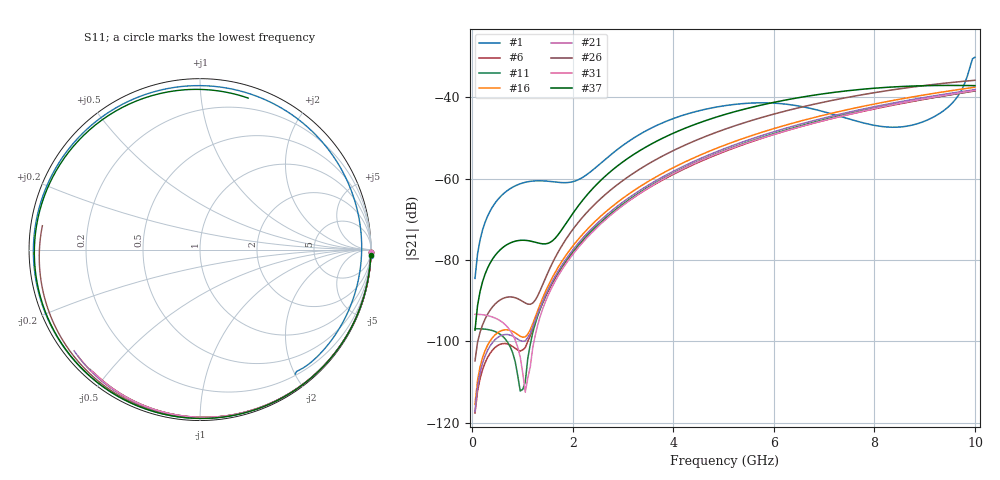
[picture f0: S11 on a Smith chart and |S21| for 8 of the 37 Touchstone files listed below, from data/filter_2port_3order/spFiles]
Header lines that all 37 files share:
! freq	dB(S11)	phase(S11)	dB(S12)	phase(S12)
!  dB(S21)	phase(S21)	dB(S22)	phase(S22)
!S-par simulation data
#  GHz  S  DB  R 50
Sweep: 50 MHz to 10 GHz
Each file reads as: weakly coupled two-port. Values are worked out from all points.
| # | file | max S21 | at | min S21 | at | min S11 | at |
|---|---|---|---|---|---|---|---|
| 1 | randomGDSSteppedImpFilter_Type=butter_order=3_pixelSize=18_sim=10478.s2p | -30.16 dB | 10 GHz | -84.5 dB | 50 MHz | -0.8 dB | 9.95 GHz |
| 2 | randomGDSSteppedImpFilter_Type=butter_order=3_pixelSize=18_sim=10479.s2p | -36.66 dB | 10 GHz | -103.2 dB | 50 MHz | -0.7 dB | 10 GHz |
| 3 | randomGDSSteppedImpFilter_Type=butter_order=3_pixelSize=18_sim=10480.s2p | -37.05 dB | 10 GHz | -107.5 dB | 50 MHz | -1.2 dB | 7.2 GHz |
| 4 | randomGDSSteppedImpFilter_Type=butter_order=3_pixelSize=18_sim=10481.s2p | -37.34 dB | 10 GHz | -114.4 dB | 50 MHz | -0.4 dB | 10 GHz |
| 5 | randomGDSSteppedImpFilter_Type=butter_order=3_pixelSize=18_sim=10482.s2p | -36.91 dB | 10 GHz | -109.0 dB | 50 MHz | -0.6 dB | 10 GHz |
| 6 | randomGDSSteppedImpFilter_Type=butter_order=3_pixelSize=18_sim=10483.s2p | -38.45 dB | 10 GHz | -117.6 dB | 50 MHz | -0.4 dB | 10 GHz |
| 7 | randomGDSSteppedImpFilter_Type=butter_order=3_pixelSize=18_sim=10484.s2p | -36.28 dB | 10 GHz | -103.8 dB | 50 MHz | -0.7 dB | 10 GHz |
| 8 | randomGDSSteppedImpFilter_Type=butter_order=3_pixelSize=18_sim=10485.s2p | -16.19 dB | 10 GHz | -85.1 dB | 50 MHz | -15.6 dB | 7.2 GHz |
| 9 | randomGDSSteppedImpFilter_Type=butter_order=3_pixelSize=18_sim=10486.s2p | -28.45 dB | 10 GHz | -69.5 dB | 50 MHz | -0.9 dB | 10 GHz |
| 10 | randomGDSSteppedImpFilter_Type=butter_order=3_pixelSize=18_sim=10487.s2p | -37.85 dB | 10 GHz | -116.4 dB | 50 MHz | -0.5 dB | 10 GHz |
| 11 | randomGDSSteppedImpFilter_Type=butter_order=3_pixelSize=18_sim=10488.s2p | -38.37 dB | 10 GHz | -112.2 dB | 950 MHz | -0.4 dB | 10 GHz |
| 12 | randomGDSSteppedImpFilter_Type=butter_order=3_pixelSize=18_sim=10489.s2p | -37.79 dB | 10 GHz | -116.3 dB | 50 MHz | -0.5 dB | 10 GHz |
| 13 | randomGDSSteppedImpFilter_Type=butter_order=3_pixelSize=18_sim=10490.s2p | -39.64 dB | 10 GHz | -101.3 dB | 50 MHz | -0.5 dB | 10 GHz |
| 14 | randomGDSSteppedImpFilter_Type=butter_order=3_pixelSize=18_sim=10491.s2p | -37.72 dB | 10 GHz | -89.4 dB | 50 MHz | -0.6 dB | 10 GHz |
| 15 | randomGDSSteppedImpFilter_Type=butter_order=3_pixelSize=18_sim=10492.s2p | -37.48 dB | 10 GHz | -109.0 dB | 50 MHz | -0.6 dB | 10 GHz |
| 16 | randomGDSSteppedImpFilter_Type=butter_order=3_pixelSize=18_sim=10493.s2p | -37.53 dB | 10 GHz | -115.5 dB | 50 MHz | -0.5 dB | 10 GHz |
| 17 | randomGDSSteppedImpFilter_Type=butter_order=3_pixelSize=18_sim=10494.s2p | -36.48 dB | 10 GHz | -86.2 dB | 1.4 GHz | -0.5 dB | 10 GHz |
| 18 | randomGDSSteppedImpFilter_Type=butter_order=3_pixelSize=18_sim=10495.s2p | -33.07 dB | 10 GHz | -88.5 dB | 50 MHz | -0.7 dB | 10 GHz |
| 19 | randomGDSSteppedImpFilter_Type=butter_order=3_pixelSize=18_sim=10496.s2p | -36.79 dB | 10 GHz | -108.4 dB | 50 MHz | -0.6 dB | 10 GHz |
| 20 | randomGDSSteppedImpFilter_Type=butter_order=3_pixelSize=18_sim=10497.s2p | -36.49 dB | 10 GHz | -88.3 dB | 1.3 GHz | -0.5 dB | 10 GHz |
| 21 | randomGDSSteppedImpFilter_Type=butter_order=3_pixelSize=18_sim=10498.s2p | -38.12 dB | 10 GHz | -117.3 dB | 50 MHz | -0.5 dB | 10 GHz |
| 22 | randomGDSSteppedImpFilter_Type=butter_order=3_pixelSize=18_sim=10500.s2p | -34.47 dB | 10 GHz | -100.4 dB | 50 MHz | -0.6 dB | 10 GHz |
| 23 | randomGDSSteppedImpFilter_Type=butter_order=3_pixelSize=18_sim=10501.s2p | -37.25 dB | 10 GHz | -114.6 dB | 50 MHz | -0.5 dB | 10 GHz |
| 24 | randomGDSSteppedImpFilter_Type=butter_order=3_pixelSize=18_sim=10502.s2p | -38.43 dB | 10 GHz | -119.1 dB | 50 MHz | -0.4 dB | 10 GHz |
| 25 | randomGDSSteppedImpFilter_Type=butter_order=3_pixelSize=18_sim=10503.s2p | -37.70 dB | 10 GHz | -115.8 dB | 50 MHz | -0.5 dB | 10 GHz |
| 26 | randomGDSSteppedImpFilter_Type=butter_order=3_pixelSize=18_sim=10504.s2p | -35.82 dB | 10 GHz | -104.9 dB | 50 MHz | -0.6 dB | 10 GHz |
| 27 | randomGDSSteppedImpFilter_Type=butter_order=3_pixelSize=18_sim=10505.s2p | -36.73 dB | 10 GHz | -90.8 dB | 1.3 GHz | -0.4 dB | 10 GHz |
| 28 | randomGDSSteppedImpFilter_Type=butter_order=3_pixelSize=18_sim=10506.s2p | -37.67 dB | 10 GHz | -116.0 dB | 50 MHz | -0.5 dB | 10 GHz |
| 29 | randomGDSSteppedImpFilter_Type=butter_order=3_pixelSize=18_sim=10507.s2p | -39.84 dB | 10 GHz | -86.6 dB | 50 MHz | -0.5 dB | 10 GHz |
| 30 | randomGDSSteppedImpFilter_Type=butter_order=3_pixelSize=18_sim=10508.s2p | -36.12 dB | 10 GHz | -78.2 dB | 50 MHz | -0.4 dB | 10 GHz |
| 31 | randomGDSSteppedImpFilter_Type=butter_order=3_pixelSize=18_sim=10510.s2p | -38.33 dB | 10 GHz | -112.5 dB | 1.05 GHz | -0.4 dB | 10 GHz |
| 32 | randomGDSSteppedImpFilter_Type=butter_order=3_pixelSize=18_sim=10511.s2p | -38.39 dB | 10 GHz | -117.5 dB | 50 MHz | -0.4 dB | 10 GHz |
| 33 | randomGDSSteppedImpFilter_Type=butter_order=3_pixelSize=18_sim=10512.s2p | -17.74 dB | 4.7 GHz | -81.2 dB | 50 MHz | -1.2 dB | 4.7 GHz |
| 34 | randomGDSSteppedImpFilter_Type=butter_order=3_pixelSize=18_sim=10513.s2p | -40.20 dB | 7 GHz | -93.9 dB | 50 MHz | -0.4 dB | 10 GHz |
| 35 | randomGDSSteppedImpFilter_Type=butter_order=3_pixelSize=18_sim=10514.s2p | -19.68 dB | 5.65 GHz | -85.9 dB | 50 MHz | -1.1 dB | 5.65 GHz |
| 36 | randomGDSSteppedImpFilter_Type=butter_order=3_pixelSize=18_sim=10515.s2p | -37.55 dB | 8.45 GHz | -75.4 dB | 1.55 GHz | -0.6 dB | 10 GHz |
| 37 | randomGDSSteppedImpFilter_Type=butter_order=3_pixelSize=18_sim=10516.s2p | -37.08 dB | 9.5 GHz | -97.3 dB | 50 MHz | -0.6 dB | 10 GHz |
